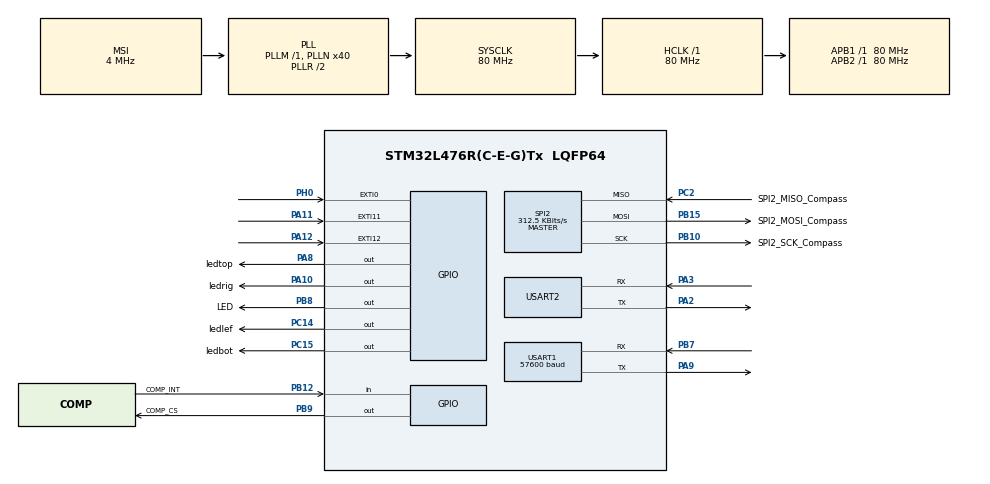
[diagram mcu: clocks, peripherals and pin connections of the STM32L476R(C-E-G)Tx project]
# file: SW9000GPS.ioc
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FREERTOS.Tasks01=defaultTask,0,128,StartDefaultTask,Default;rLEDTask,0,128,StartRLEDTask,Default;lLEDTask,0,128,StartLLEDTask,Default;tLEDTask,0,128,StartTLEDTask,Default;bLEDTask,0,128,StartBLEDTask,Default;thandlerTask,0,128,StartTHandlerTask,Default;compassTask,0,128,StartCompassTask,Default;gpsTask,0,128,StartGPSTask,Default
FREERTOS.configTOTAL_HEAP_SIZE=20000
Mcu.Family=STM32L4
Mcu.Name=STM32L476R(C-E-G)Tx
Mcu.Package=LQFP64
NVIC.EXTI0_IRQn=true\:5\:0\:false\:false\:true
NVIC.EXTI15_10_IRQn=true\:5\:0\:false\:false\:true
NVIC.PriorityGroup=NVIC_PRIORITYGROUP_4
NVIC.TIM1_UP_TIM16_IRQn=true\:0\:0\:false\:false\:true
NVIC.TimeBase=TIM1_UP_TIM16_IRQn
NVIC.TimeBaseIP=TIM1
PA10.GPIO_Label=ledrig
PA10.Signal=GPIO_Output
PA11.Signal=GPXTI11
PA12.Signal=GPXTI12
PA13.Mode=Serial-Wire
PA13.Signal=SYS_JTMS-SWDIO
PA14.Mode=Serial-Wire
PA14.Signal=SYS_JTCK-SWCLK
PA2.Mode=Asynchronous
PA2.Signal=USART2_TX
PA3.Mode=Asynchronous
PA3.Signal=USART2_RX
PA8.GPIO_Label=ledtop
PA8.Signal=GPIO_Output
PA9.Mode=Asynchronous
PA9.Signal=USART1_TX
PB10.GPIO_Label=SPI2_SCK_Compass
PB10.Mode=Full_Duplex_Master
PB10.Signal=SPI2_SCK
PB12.GPIO_Label=COMP_INT
PB12.Signal=GPIO_Input
PB15.GPIO_Label=SPI2_MOSI_Compass
PB15.Mode=Full_Duplex_Master
PB15.Signal=SPI2_MOSI
PB7.Mode=Asynchronous
PB7.Signal=USART1_RX
PB8.GPIO_Label=LED
PB8.Signal=GPIO_Output
PB9.GPIO_Label=COMP_CS
PB9.Signal=GPIO_Output
PC14/OSC32_IN.GPIO_Label=ledlef
PC14/OSC32_IN.Signal=GPIO_Output
PC15/OSC32_OUT.GPIO_Label=ledbot
PC15/OSC32_OUT.Signal=GPIO_Output
PC2.GPIO_Label=SPI2_MISO_Compass
PC2.Mode=Full_Duplex_Master
PC2.Signal=SPI2_MISO
PH0/OSC_IN.Signal=GPXTI0
ProjectManager.HeapSize=0x200
ProjectManager.StackSize=0x400
ProjectManager.TargetToolchain=EWARM
RCC.AHBFreq_Value=80000000
RCC.APB1Freq_Value=80000000
RCC.APB1TimFreq_Value=80000000
RCC.APB2Freq_Value=80000000
RCC.APB2TimFreq_Value=80000000
RCC.CortexFreq_Value=80000000
RCC.HCLKFreq_Value=80000000
RCC.HSE_VALUE=8000000
RCC.HSI_VALUE=16000000
RCC.LSE_VALUE=32768
RCC.MSI_VALUE=4000000
RCC.PLLN=40
RCC.SYSCLKFreq_VALUE=80000000
RCC.SYSCLKSource=RCC_SYSCLKSOURCE_PLLCLK
RCC.VCOOutputFreq_Value=160000000
SPI2.BaudRatePrescaler=SPI_BAUDRATEPRESCALER_256
SPI2.CLKPhase=SPI_PHASE_2EDGE
SPI2.CLKPolarity=SPI_POLARITY_HIGH
SPI2.CalculateBaudRate=312.5 KBits/s
SPI2.DataSize=SPI_DATASIZE_8BIT
SPI2.Mode=SPI_MODE_MASTER
USART1.BaudRate=57600
USART1.WordLength=UART_WORDLENGTH_8B
VP_FREERTOS_VS_ENABLE.Mode=Enabled
VP_SYS_VS_tim1.Mode=TIM1
board=SW9000GPS

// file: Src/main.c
/**
  ******************************************************************************
  * File Name          : main.c
  * Description        : Main program body
  ******************************************************************************
  *
  * COPYRIGHT(c) 2016 STMicroelectronics
  *
  * Redistribution and use in source and binary forms, with or without modification,
  * are permitted provided that the following conditions are met:
  *   1. Redistributions of source code must retain the above copyright notice,
  *      this list of conditions and the following disclaimer.
  *   2. Redistributions in binary form must reproduce the above copyright notice,
  *      this list of conditions and the following disclaimer in the documentation
  *      and/or other materials provided with the distribution.
  *   3. Neither the name of STMicroelectronics nor the names of its contributors
  *      may be used to endorse or promote products derived from this software
  *      without specific prior written permission.
  *
  * THIS SOFTWARE IS PROVIDED BY THE COPYRIGHT HOLDERS AND CONTRIBUTORS "AS IS"
  * AND ANY EXPRESS OR IMPLIED WARRANTIES, INCLUDING, BUT NOT LIMITED TO, THE
  * IMPLIED WARRANTIES OF MERCHANTABILITY AND FITNESS FOR A PARTICULAR PURPOSE ARE
  * DISCLAIMED. IN NO EVENT SHALL THE COPYRIGHT HOLDER OR CONTRIBUTORS BE LIABLE
  * FOR ANY DIRECT, INDIRECT, INCIDENTAL, SPECIAL, EXEMPLARY, OR CONSEQUENTIAL
  * DAMAGES (INCLUDING, BUT NOT LIMITED TO, PROCUREMENT OF SUBSTITUTE GOODS OR
  * SERVICES; LOSS OF USE, DATA, OR PROFITS; OR BUSINESS INTERRUPTION) HOWEVER
  * CAUSED AND ON ANY THEORY OF LIABILITY, WHETHER IN CONTRACT, STRICT LIABILITY,
  * OR TORT (INCLUDING NEGLIGENCE OR OTHERWISE) ARISING IN ANY WAY OUT OF THE USE
  * OF THIS SOFTWARE, EVEN IF ADVISED OF THE POSSIBILITY OF SUCH DAMAGE.
  *
  ******************************************************************************
  */
#include "stm32l4xx_hal.h"
#include "cmsis_os.h"

/* USER CODE BEGIN Includes */
#include <stdlib.h>
#include <string.h>
#include <math.h>
#include <stdint.h>
/* USER CODE END Includes */

SPI_HandleTypeDef hspi2;

UART_HandleTypeDef huart1;
UART_HandleTypeDef huart2;

osThreadId defaultTaskHandle;
osThreadId rLEDTaskHandle;
osThreadId lLEDTaskHandle;
osThreadId tLEDTaskHandle;
osThreadId bLEDTaskHandle;
osThreadId thandlerTaskHandle;
osThreadId compassTaskHandle;
osThreadId gpsTaskHandle;

/* USER CODE BEGIN PV */
/* Private variables ---------------------------------------------------------*/
volatile uint8_t blinking;
/* USER CODE END PV */

void SystemClock_Config(void);
static void MX_GPIO_Init(void);
static void MX_SPI2_Init(void);
static void MX_USART1_UART_Init(void);
static void MX_USART2_UART_Init(void);
void StartDefaultTask(void const * argument);
void StartRLEDTask(void const * argument);
void StartLLEDTask(void const * argument);
void StartTLEDTask(void const * argument);
void StartBLEDTask(void const * argument);
void StartTHandlerTask(void const * argument);
void StartCompassTask(void const * argument);
void StartGPSTask(void const * argument);

/* USER CODE BEGIN PFP */
/* Private function prototypes -----------------------------------------------*/
int calculateditance(double lat1, double lat2, double long1, double long2);
int calculateangle( double lat1, double lat2, double long1, double long2);
void Directions(double *Mylat, double *Mylong, char *in);
void GPSReceive(double *Mylat, double *Mylong, char *in);
void compass_takemeasurement(uint8_t * inbuf, uint8_t * outbuf);
/* USER CODE END PFP */

int main(void)
{

  /* MCU Configuration----------------------------------------------------------*/

  /* Reset of all peripherals, Initializes the Flash interface and the Systick. */
  HAL_Init();

  /* Configure the system clock */
  SystemClock_Config();

  /* Initialize all configured peripherals */
  MX_GPIO_Init();
  MX_SPI2_Init();
  MX_USART1_UART_Init();
  MX_USART2_UART_Init();

  /* USER CODE BEGIN 2 */
  blinking = 0;
  /* USER CODE END 2 */

  /* Create the thread(s) */
  /* definition and creation of defaultTask */
  osThreadDef(defaultTask, StartDefaultTask, osPriorityNormal, 0, 128);
  defaultTaskHandle = osThreadCreate(osThread(defaultTask), NULL);

  /* Start scheduler */
  osKernelStart();

  /* We should never get here as control is now taken by the scheduler */

  /* Infinite loop */
  while (1)
  {

  }

}

/** System Clock Configuration
*/
void SystemClock_Config(void)
{

  RCC_OscInitTypeDef RCC_OscInitStruct;
  RCC_ClkInitTypeDef RCC_ClkInitStruct;
  RCC_PeriphCLKInitTypeDef PeriphClkInit;

  RCC_OscInitStruct.OscillatorType = RCC_OSCILLATORTYPE_MSI;
  RCC_OscInitStruct.MSIState = RCC_MSI_ON;
  RCC_OscInitStruct.MSICalibrationValue = 0;
  RCC_OscInitStruct.MSIClockRange = RCC_MSIRANGE_6;
  RCC_OscInitStruct.PLL.PLLState = RCC_PLL_ON;
  RCC_OscInitStruct.PLL.PLLSource = RCC_PLLSOURCE_MSI;
  RCC_OscInitStruct.PLL.PLLM = 1;
  RCC_OscInitStruct.PLL.PLLN = 40;
  RCC_OscInitStruct.PLL.PLLP = RCC_PLLP_DIV7;
  RCC_OscInitStruct.PLL.PLLQ = RCC_PLLQ_DIV2;
  RCC_OscInitStruct.PLL.PLLR = RCC_PLLR_DIV2;
  HAL_RCC_OscConfig(&RCC_OscInitStruct);

  RCC_ClkInitStruct.ClockType = RCC_CLOCKTYPE_HCLK|RCC_CLOCKTYPE_SYSCLK
                              |RCC_CLOCKTYPE_PCLK1|RCC_CLOCKTYPE_PCLK2;
  RCC_ClkInitStruct.SYSCLKSource = RCC_SYSCLKSOURCE_PLLCLK;
  RCC_ClkInitStruct.AHBCLKDivider = RCC_SYSCLK_DIV1;
  RCC_ClkInitStruct.APB1CLKDivider = RCC_HCLK_DIV1;
  RCC_ClkInitStruct.APB2CLKDivider = RCC_HCLK_DIV1;
  HAL_RCC_ClockConfig(&RCC_ClkInitStruct, FLASH_LATENCY_4);

  PeriphClkInit.PeriphClockSelection = RCC_PERIPHCLK_USART1|RCC_PERIPHCLK_USART2;
  PeriphClkInit.Usart1ClockSelection = RCC_USART1CLKSOURCE_PCLK2;
  PeriphClkInit.Usart2ClockSelection = RCC_USART2CLKSOURCE_PCLK1;
  HAL_RCCEx_PeriphCLKConfig(&PeriphClkInit);

  __HAL_RCC_PWR_CLK_ENABLE();

  HAL_PWREx_ControlVoltageScaling(PWR_REGULATOR_VOLTAGE_SCALE1);

  HAL_SYSTICK_Config(HAL_RCC_GetHCLKFreq()/1000);

  HAL_SYSTICK_CLKSourceConfig(SYSTICK_CLKSOURCE_HCLK);

  /* SysTick_IRQn interrupt configuration */
  HAL_NVIC_SetPriority(SysTick_IRQn, 15, 0);
}

/* SPI2 init function */
void MX_SPI2_Init(void)
{

  hspi2.Instance = SPI2;
  hspi2.Init.Mode = SPI_MODE_MASTER;
  hspi2.Init.Direction = SPI_DIRECTION_2LINES;
  hspi2.Init.DataSize = SPI_DATASIZE_8BIT;
  hspi2.Init.CLKPolarity = SPI_POLARITY_HIGH;
  hspi2.Init.CLKPhase = SPI_PHASE_2EDGE;
  hspi2.Init.NSS = SPI_NSS_SOFT;
  hspi2.Init.BaudRatePrescaler = SPI_BAUDRATEPRESCALER_256;
  hspi2.Init.FirstBit = SPI_FIRSTBIT_MSB;
  hspi2.Init.TIMode = SPI_TIMODE_DISABLE;
  hspi2.Init.CRCCalculation = SPI_CRCCALCULATION_DISABLE;
  hspi2.Init.CRCPolynomial = 7;
  hspi2.Init.CRCLength = SPI_CRC_LENGTH_DATASIZE;
  hspi2.Init.NSSPMode = SPI_NSS_PULSE_DISABLE;
  HAL_SPI_Init(&hspi2);

}

/* USART1 init function */
void MX_USART1_UART_Init(void)
{

  huart1.Instance = USART1;
  huart1.Init.BaudRate = 57600;
  huart1.Init.WordLength = UART_WORDLENGTH_8B;
  huart1.Init.StopBits = UART_STOPBITS_1;
  huart1.Init.Parity = UART_PARITY_NONE;
  huart1.Init.Mode = UART_MODE_TX_RX;
  huart1.Init.HwFlowCtl = UART_HWCONTROL_NONE;
  huart1.Init.OverSampling = UART_OVERSAMPLING_16;
  huart1.Init.OneBitSampling = UART_ONE_BIT_SAMPLE_DISABLE;
  huart1.AdvancedInit.AdvFeatureInit = UART_ADVFEATURE_NO_INIT;
  HAL_UART_Init(&huart1);

}

/* USART2 init function */
void MX_USART2_UART_Init(void)
{

  huart2.Instance = USART2;
  huart2.Init.BaudRate = 115200;
  huart2.Init.WordLength = UART_WORDLENGTH_7B;
  huart2.Init.StopBits = UART_STOPBITS_1;
  huart2.Init.Parity = UART_PARITY_NONE;
  huart2.Init.Mode = UART_MODE_TX_RX;
  huart2.Init.HwFlowCtl = UART_HWCONTROL_NONE;
  huart2.Init.OverSampling = UART_OVERSAMPLING_16;
  huart2.Init.OneBitSampling = UART_ONE_BIT_SAMPLE_DISABLE;
  huart2.AdvancedInit.AdvFeatureInit = UART_ADVFEATURE_NO_INIT;
  HAL_UART_Init(&huart2);

}

/** Configure pins as
        * Analog
        * Input
        * Output
        * EVENT_OUT
        * EXTI
*/
void MX_GPIO_Init(void)
{

  GPIO_InitTypeDef GPIO_InitStruct;

  /* GPIO Ports Clock Enable */
  __HAL_RCC_GPIOC_CLK_ENABLE();
  __HAL_RCC_GPIOH_CLK_ENABLE();
  __HAL_RCC_GPIOA_CLK_ENABLE();
  __HAL_RCC_GPIOB_CLK_ENABLE();

  /*Configure GPIO pin Output Level */
  HAL_GPIO_WritePin(GPIOC, ledlef_Pin|ledbot_Pin, GPIO_PIN_RESET);

  /*Configure GPIO pin Output Level */
  HAL_GPIO_WritePin(GPIOA, ledtop_Pin|ledrig_Pin, GPIO_PIN_RESET);

  /*Configure GPIO pin Output Level */
  HAL_GPIO_WritePin(GPIOB, LED_Pin|COMP_CS_Pin, GPIO_PIN_RESET);

  /*Configure GPIO pins : ledlef_Pin ledbot_Pin */
  GPIO_InitStruct.Pin = ledlef_Pin|ledbot_Pin;
  GPIO_InitStruct.Mode = GPIO_MODE_OUTPUT_PP;
  GPIO_InitStruct.Pull = GPIO_NOPULL;
  GPIO_InitStruct.Speed = GPIO_SPEED_FREQ_LOW;
  HAL_GPIO_Init(GPIOC, &GPIO_InitStruct);

  /*Configure GPIO pin : PH0 */
  GPIO_InitStruct.Pin = GPIO_PIN_0;
  GPIO_InitStruct.Mode = GPIO_MODE_IT_RISING;
  GPIO_InitStruct.Pull = GPIO_NOPULL;
  HAL_GPIO_Init(GPIOH, &GPIO_InitStruct);

  /*Configure GPIO pin : COMP_INT_Pin */
  GPIO_InitStruct.Pin = COMP_INT_Pin;
  GPIO_InitStruct.Mode = GPIO_MODE_INPUT;
  GPIO_InitStruct.Pull = GPIO_NOPULL;
  HAL_GPIO_Init(COMP_INT_GPIO_Port, &GPIO_InitStruct);

  /*Configure GPIO pins : ledtop_Pin ledrig_Pin */
  GPIO_InitStruct.Pin = ledtop_Pin|ledrig_Pin;
  GPIO_InitStruct.Mode = GPIO_MODE_OUTPUT_PP;
  GPIO_InitStruct.Pull = GPIO_NOPULL;
  GPIO_InitStruct.Speed = GPIO_SPEED_FREQ_LOW;
  HAL_GPIO_Init(GPIOA, &GPIO_InitStruct);

  /*Configure GPIO pins : PA11 PA12 */
  GPIO_InitStruct.Pin = GPIO_PIN_11|GPIO_PIN_12;
  GPIO_InitStruct.Mode = GPIO_MODE_IT_RISING;
  GPIO_InitStruct.Pull = GPIO_NOPULL;
  HAL_GPIO_Init(GPIOA, &GPIO_InitStruct);

  /*Configure GPIO pins : LED_Pin COMP_CS_Pin */
  GPIO_InitStruct.Pin = LED_Pin|COMP_CS_Pin;
  GPIO_InitStruct.Mode = GPIO_MODE_OUTPUT_PP;
  GPIO_InitStruct.Pull = GPIO_NOPULL;
  GPIO_InitStruct.Speed = GPIO_SPEED_FREQ_LOW;
  HAL_GPIO_Init(GPIOB, &GPIO_InitStruct);

  /* EXTI interrupt init*/
  HAL_NVIC_SetPriority(EXTI0_IRQn, 5, 0);
  HAL_NVIC_EnableIRQ(EXTI0_IRQn);

  HAL_NVIC_SetPriority(EXTI15_10_IRQn, 5, 0);
  HAL_NVIC_EnableIRQ(EXTI15_10_IRQn);

}

/* USER CODE BEGIN 4 */
int calculateditance(double lat1, double lat2, double long1, double long2){
  double  pi = 3.1415926535;
  double distanceKm,a;
  double c;

  double R = 6371;
  double dlong;
  double dlat;

  lat1 = lat1*(pi/180);
  lat2 = lat2*(pi/180);

  long1= long1*(pi/180);
  long2= long2*(pi/180);
  dlong = (long2 - long1);
  dlat  = (lat2 - lat1);

  a = sin(dlat/2)*sin(dlat/2) + cos(lat1)*cos(lat2)*sin(dlong/2)*sin(dlong/2);
  c = 2 * atan2( sqrt(a), sqrt(1-a) );
  distanceKm = R * c;

  double DistanceMeters= distanceKm*1000;
  return DistanceMeters;

}

int calculateangle( double lat1, double lat2, double long1, double long2){

  double  pi = 3.1415926535;
  double angle = 0;
  double degree;
  double dlong;
  double dlat;

  lat1 = lat1*(pi/180);
  lat2 = lat2*(pi/180);

  long1= long1*(pi/180);
  long2= long2*(pi/180);

  dlong = (long2 - long1);
  dlat  = (lat2 - lat1);

  angle =  atan2(sin(dlong)*cos(lat2), cos(lat1)*sin(lat2)-sin(lat1)*cos(lat2)*cos(dlong));
  degree = round(angle*(180/pi));
  int degreerounded = degree;
  degreerounded = (degreerounded+360)%360;
  return degreerounded;

}
void Directions(double *Mylat, double *Mylong, char *in)
{
  char latitud[10];
  char longitud[10];

  strncpy(latitud,in+18,9);    //extracting latitud from current position;
  strncpy(longitud,in+30,10);  //extracting longitud

  *Mylong = atof(longitud)/100;
  *Mylat =  atof(latitud)/100;
  if(longitud[0]=='0')   // if longitud[0]==0,  this means the longitud is negative, thats why im multiplying by -1
  {
    *Mylong *= -1;
  }
}

void GPSReceive(double *Mylat, double *Mylong, char *in){
  volatile HAL_StatusTypeDef status;
  uint8_t inSize;
receivebeg:

  while(in[0] != '$')
  {
    status = HAL_UART_Receive(&huart1, &in[0], 1, 0x100);
    if(status == HAL_TIMEOUT)
    {
      osDelay(200);
    }
  }
  // Receive

  for (inSize = 1; inSize < 40 && status != HAL_TIMEOUT; inSize++)
  {
    status = HAL_UART_Receive(&huart1, &in[inSize], 1, 0x100);

    if (in[inSize] == '\n')
      break;
  }

  HAL_UART_Transmit(&huart2, (uint8_t *)in, inSize-1, 0x100);

  if(in[3]== 'G' && in[4]=='G' && in[5]=='A')
  {
    Directions(Mylat,Mylong, in);

  }

  else
  {
    osDelay(200);
    in[0] = 0;
    goto receivebeg;
  }
}

// Functions
// Useful debugging info
void compass_dbg_uartout(uint8_t * inBuf, uint8_t * outBuf, uint8_t * msg)
{
  if(outBuf[0] == 62)	// SSMM
  {
    msg = "SMM:\t";
    HAL_UART_Transmit(&huart2, (uint8_t*)msg, strlen(msg), 0xFFFF);
  }
  else if(outBuf[0] == 78)	// RM
  {
    msg = "RM:\t";
    HAL_UART_Transmit(&huart2, (uint8_t*)msg, strlen(msg), 0xFFFF);
  }
  else if(outBuf[0] == 240)	// RST
  {
    msg = "RST:\t";
    HAL_UART_Transmit(&huart2, (uint8_t*)msg, strlen(msg), 0xFFFF);
  }
  else if(outBuf[0] == 80)	// RR
  {
    msg = "RR:\t";
    HAL_UART_Transmit(&huart2, (uint8_t*)msg, strlen(msg), 0xFFFF);
  }
  if(inBuf[0] & 128)	msg = "BM\t";
  else				msg = "  \t";
  HAL_UART_Transmit(&huart2, (uint8_t*)msg, strlen(msg), 0xFFFF);
  if(inBuf[0] & 64)	msg = "WC\t";
  else				msg = "  \t";
  HAL_UART_Transmit(&huart2, (uint8_t*)msg, strlen(msg), 0xFFFF);
  if(inBuf[0] & 32)	msg = "SM\t";
  else				msg = "  \t";
  HAL_UART_Transmit(&huart2, (uint8_t*)msg, strlen(msg), 0xFFFF);
  if(inBuf[0] & 16)	msg = "ER\t";
  else				msg = "  \t";
  HAL_UART_Transmit(&huart2, (uint8_t*)msg, strlen(msg), 0xFFFF);
  if(inBuf[0] & 8)	msg = "SD\t";
  else				msg = "  \t";
  HAL_UART_Transmit(&huart2, (uint8_t*)msg, strlen(msg), 0xFFFF);
  if(inBuf[0] & 4)	msg = "RS\t";
  else				msg = "  \t";
  HAL_UART_Transmit(&huart2, (uint8_t*)msg, strlen(msg), 0xFFFF);
  if(inBuf[0] & 2)	msg = "D1\t";
  else				msg = "  \t";
  HAL_UART_Transmit(&huart2, (uint8_t*)msg, strlen(msg), 0xFFFF);
  if(inBuf[0] & 1)	msg = "D0\t";
  else				msg = "  \t";
  HAL_UART_Transmit(&huart2, (uint8_t*)msg, strlen(msg), 0xFFFF);
  if(HAL_GPIO_ReadPin(COMP_INT_GPIO_Port, COMP_INT_Pin))
  {
    msg = "RDY\t";
    HAL_UART_Transmit(&huart2, (uint8_t*)msg, strlen(msg), 0xFFFF);
  }
  msg = "\n\n\r";
  HAL_UART_Transmit(&huart2, (uint8_t*)msg, strlen(msg), 0xFFFF);
}

// I/O
void compass_send_SPI(uint8_t * inBuf, uint8_t inLength, uint8_t * outBuf, uint8_t outLength)
{
  HAL_GPIO_WritePin(COMP_CS_GPIO_Port, COMP_CS_Pin, GPIO_PIN_RESET);
  HAL_SPI_Transmit(&hspi2, outBuf, outLength, 1000);
  HAL_SPI_Receive(&hspi2, inBuf, inLength, 1000);
  HAL_GPIO_WritePin(COMP_CS_GPIO_Port, COMP_CS_Pin, GPIO_PIN_SET);
}

// Print results as integers
void compass_uart(int16_t * xyz, uint8_t * msg, int16_t * angle)
{
  sprintf(msg, "x: %5d\t", xyz[0]);
  if(HAL_UART_Transmit(&huart2, (uint8_t*)msg, strlen(msg), 0x1000) != HAL_OK)
    return;
  sprintf(msg, "y: %5d\t", xyz[1]);
  HAL_UART_Transmit(&huart2, (uint8_t*)msg, strlen(msg), 0xFFFF);
  sprintf(msg, "z: %5d\t", xyz[2]);
  HAL_UART_Transmit(&huart2, (uint8_t*)msg, strlen(msg), 0xFFFF);
  sprintf(msg, "a: %d\t", *angle);
  HAL_UART_Transmit(&huart2, (uint8_t*)msg, strlen(msg), 0xFFFF);
  msg = "\n\r";
  HAL_UART_Transmit(&huart2, (uint8_t*)msg, strlen(msg), 0xFFFF);
}

// Convert raw input bits to integers
void compass_processInput(uint8_t * inbuf, int16_t * xyz, int16_t * minmaxxyz)
{
  // FL is off by 2 degrees W: Don't care.
  for(uint8_t i=0; i<3; i++)
  {
    // 2's complement binaries to int16_t
    xyz[i] = ((int16_t)inbuf[i*2+1] << 8 | inbuf[i*2+2]);
    // (optional) use GAIN_SEL to find "real" value
    xyz[i] *= i==2?.294:.161;
    // Update minmaxxyz
    if(xyz[i] < minmaxxyz[2*i])	minmaxxyz[2*i] = xyz[i];
    if(xyz[i] > minmaxxyz[2*i+1])	minmaxxyz[2*i+1] = xyz[i];
    // Normalize results
    xyz[i] -= (minmaxxyz[2*i+1]+minmaxxyz[2*i])/2;
  }
}

/*
* Calibration: Do a bunch of measurements
*
* Measurements/normalization: Save min and max. Med = 0
*/

void compass_calibrate(uint8_t * inbuf, uint8_t * outbuf, int16_t * xyz, int16_t * minmaxxyz)
{
  compass_takemeasurement(inbuf, outbuf);
  for(uint8_t i=0; i<3; i++)
  {
    // 2's complement binaries to int16_t
    xyz[i] = ((int16_t)inbuf[i*2+1] << 8 | inbuf[i*2+2]);
    // (optional) use GAIN_SEL to find "real" value
    xyz[i] *= i==2?.294:.161;
    // Update minmaxxyz
    minmaxxyz[2*i] = xyz[i];
    minmaxxyz[2*1+1] = xyz[i];
  }
  for(uint16_t i=0; i<100; i++)	// TODO replace this with pushbutton
  {
    compass_takemeasurement(inbuf, outbuf);
    compass_processInput(inbuf, xyz, minmaxxyz);
    osDelay(100);
  }
}

void compass_takemeasurement(uint8_t * inbuf, uint8_t * outbuf)
{
  // Start single measurement mode
  outbuf[0] = 62;	// 0011zyxt
  compass_send_SPI(inbuf, 1, outbuf, 1);
  //compass_dbg_uartout(inbuf, outbuf, msg);

  while(!HAL_GPIO_ReadPin(COMP_INT_GPIO_Port, COMP_INT_Pin));

  //Read measurement
  outbuf[0] = 78;
  compass_send_SPI(inbuf, 7, outbuf, 1);
  //compass_dbg_uartout(inbuf, outbuf, msg);
}

void compass_getAngle(int16_t * angle, int16_t * xyz)
{
  volatile double tmp = atan((double)xyz[0]/(double)xyz[1]);
  tmp *= (180/3.1428);
  tmp = 90 - tmp;
  if(xyz[1] > 0)	*angle = (int16_t)(90.0 - (atan((double)xyz[0]/(double)xyz[1]) * (180.0 / 3.1428)));
  else if(xyz[1] < 0)	*angle = (int16_t)(270.0 - (atan((double)xyz[0]/(double)xyz[1]) * (180.0 / 3.1428)));
  else if(xyz[0]<0)	*angle = 180;
  else	*angle = 0;
}

void compass_vibrateAngle(int16_t * angle)
{
  uint8_t clockangle = *angle/30;
  uint16_t i;
  osDelay(500);
  for(;clockangle > 0; clockangle--)
  {
    for(i=35535; i>0; i--)
    {

    }
    osDelay(300);
  }
  osDelay(1000);
}

/*
TODO:
interupt 1:
save current location

interupt 2:
get direction to hard saved location

interupt 3:
get direction to soft saved location
*/

void angleToLED(uint16_t angle)
{
  if(angle<90 || angle >270)
    osThreadResume(tLEDTaskHandle);
  if(angle < 180)
    osThreadResume(rLEDTaskHandle);
  if(angle > 180)
    osThreadResume(lLEDTaskHandle);
  if(angle > 90 && angle < 270)
    osThreadResume(bLEDTaskHandle);
}

/* USER CODE END 4 */

/* StartDefaultTask function */
void StartDefaultTask(void const * argument)
{

  /* USER CODE BEGIN 5 */

  double softlat;
  double softlong;

  /*
  	Calibrate compass
  */
  /*
  HAL_GPIO_WritePin(GPIOB, GPIO_PIN_8, GPIO_PIN_SET);
  uint8_t inbuf[7];
  uint8_t outbuf[2];
  int16_t xyz[3];
  int16_t minmaxxyz[6];	// xmin xmax ymin ymax zmin zmax
  int16_t angle;
  uint8_t * msg = malloc(10);

  // Reset: 11110000 = 0xf0
  outbuf[0] = 0xf0;
  compass_send_SPI(inbuf, 1, outbuf, 1);
  compass_dbg_uartout(inbuf, outbuf, msg);

  compass_calibrate(inbuf, outbuf, xyz, minmaxxyz);

  HAL_GPIO_WritePin(GPIOB, GPIO_PIN_8, GPIO_PIN_RESET);

  */
  /*
  	Initialize GPS
  */

      struct route1{

    double firstpointlat;
    double firstpointlong;
    double secondpointlat;
    double secondpointlong;
    double thirdpointlat;
    double thirdpointlong;

  }points;

  points.firstpointlat =   28.600640;
  points.firstpointlong = -81.196905;
  //points.firstpointlat =   28.600969;
  //points.firstpointlong = -81.197758;

  points.secondpointlat =  28.600642;
  points.secondpointlong = -81.196900;

  points.thirdpointlat   = 28.601333;
  points.thirdpointlong  = -81.196601;

  char in[39];
//char latitud[10];
  //char longitud[10];

  double  currentlatitud=0;
  double currentlongitud=0;
  char *pop = "Just testing123!\n\r";

  in[0] = '0';
  uint8_t * nl = " - \r\n";
  uint8_t * nl2= "\r";
  uint8_t inSize;

  int totaldistance =0;
  int  test=0;

  // Config GPS (GGA, .5Hz)
  uint8_t *onlygga ="$PMTK314,0,0,0,1,0,0,0,0,0,0,0,0,0,0,0,0,0,0,0*29<CR><LF>";
  uint8_t *updatarate = "$PMTK220,2000*1C<CR><LF>";   //.5 times per second update  ---> .5Hz
  HAL_UART_Transmit(&huart1, (uint8_t *)onlygga, 13, 0x1000);
  HAL_UART_Transmit(&huart1, (uint8_t *)nl,1, 0x1000);

  //osThreadSuspend(defaultTaskHandle);
  for(;;)
  {
    /*
    if(!(blinking&224) || blinking|7)
    {
      osDelay(1000);
      continue;
    }
    */
    /*
    // get compass data
    compass_takemeasurement(inbuf, outbuf);
    compass_processInput(inbuf, xyz, minmaxxyz);
    compass_getAngle(&angle, xyz);
    */
    // get gps data
    //HAL_GPIO_WritePin(LED_GPIO_Port, LED_Pin, GPIO_PIN_SET);
    GPSReceive(&currentlatitud, &currentlongitud,in);
    HAL_GPIO_WritePin(LED_GPIO_Port, LED_Pin, GPIO_PIN_SET);
    osDelay(100);
    HAL_GPIO_WritePin(LED_GPIO_Port, LED_Pin, GPIO_PIN_RESET);
    osDelay(100);
    HAL_GPIO_WritePin(LED_GPIO_Port, LED_Pin, GPIO_PIN_SET);
    osDelay(100);
    HAL_GPIO_WritePin(LED_GPIO_Port, LED_Pin, GPIO_PIN_RESET);
    osDelay(100);
    HAL_GPIO_WritePin(LED_GPIO_Port, LED_Pin, GPIO_PIN_SET);
    osDelay(100);
    HAL_GPIO_WritePin(LED_GPIO_Port, LED_Pin, GPIO_PIN_RESET);
    osDelay(100);
    /*
    // button 1: calculate hard angle - real angle
    if(blinking == 128)	// but 1
    {
      osDelay(100);
      int destAngle = calculateangle(currentlatitud, 28.600640, currentlongitud, -81.196905);
	destAngle = (angle>destAngle)?360-angle+destAngle:destAngle-angle;
	angleToLED(destAngle);

      blinking &= 127;
    }
    // button 2: calculate soft angle - real angle
    else if(blinking == 64)	// but 2
    {
      osDelay(100);
        int destAngle = calculateangle(currentlatitud, softlat, currentlongitud, softlong);
	destAngle = (angle>destAngle)?360-angle+destAngle:destAngle-angle;
	angleToLED(destAngle);
      blinking &= 191;
    }
    // button 3: save soft location
    else if(blinking == 32)	// but 3
    {
      osDelay(100);
      softlat = currentlatitud;
      softlong = currentlongitud;
      blinking = 0;
    }
    //else	osDelay(1000);
    osThreadSuspend(defaultTaskHandle);
    */
  }

  /* USER CODE END 5 */
}

/* StartRLEDTask function */
void StartRLEDTask(void const * argument)
{
  /* USER CODE BEGIN StartRLEDTask */
  osThreadSuspend(rLEDTaskHandle);
  /* Infinite loop */
  for(;;)
  {
    blinking |= 1;
    for(uint8_t i = 0; i < 50; i++)
    {
      HAL_GPIO_WritePin(ledrig_GPIO_Port, ledrig_Pin, GPIO_PIN_RESET);
      osDelay(100);
      HAL_GPIO_WritePin(ledrig_GPIO_Port, ledrig_Pin, GPIO_PIN_SET);
      osDelay(100);
    }
    blinking &= 254;
    osThreadSuspend(rLEDTaskHandle);

  }
  /* USER CODE END StartRLEDTask */
}

/* StartLLEDTask function */
void StartLLEDTask(void const * argument)
{
  /* USER CODE BEGIN StartLLEDTask */
  osThreadSuspend(lLEDTaskHandle);
  /* Infinite loop */
  for(;;)
  {
    blinking |= 2;
    for(uint8_t i = 0; i < 50; i++)
    {
      HAL_GPIO_WritePin(ledlef_GPIO_Port, ledlef_Pin, GPIO_PIN_RESET);
      osDelay(100);
      HAL_GPIO_WritePin(ledlef_GPIO_Port, ledlef_Pin, GPIO_PIN_SET);
      osDelay(100);
    }
    blinking &= 253;
    osThreadSuspend(lLEDTaskHandle);

  }
  /* USER CODE END StartLLEDTask */
}

/* StartTLEDTask function */
void StartTLEDTask(void const * argument)
{
  /* USER CODE BEGIN StartTLEDTask */
  osThreadSuspend(tLEDTaskHandle);
  /* Infinite loop */
  for(;;)
  {
    blinking |= 4;
    for(uint8_t i = 0; i < 50; i++)
    {
      HAL_GPIO_WritePin(ledtop_GPIO_Port, ledtop_Pin, GPIO_PIN_RESET);
      osDelay(100);
      HAL_GPIO_WritePin(ledtop_GPIO_Port, ledtop_Pin, GPIO_PIN_SET);
      osDelay(100);
    }
    blinking &= 251;
    osThreadSuspend(tLEDTaskHandle);

  }
  /* USER CODE END StartTLEDTask */
}

/* StartBLEDTask function */
void StartBLEDTask(void const * argument)
{
  /* USER CODE BEGIN StartBLEDTask */
  osThreadSuspend(bLEDTaskHandle);
  /* Infinite loop */
  for(;;)
  {
    blinking |= 8;
    for(uint8_t i = 0; i < 50; i++)
    {
      HAL_GPIO_WritePin(ledbot_GPIO_Port, ledbot_Pin, GPIO_PIN_RESET);
      osDelay(100);
      HAL_GPIO_WritePin(ledbot_GPIO_Port, ledbot_Pin, GPIO_PIN_SET);
      osDelay(100);
    }
    blinking &= 247;
    osThreadSuspend(bLEDTaskHandle);

  }
  /* USER CODE END StartBLEDTask */
}

/* StartTHandlerTask function */
void StartTHandlerTask(void const * argument)
{
  /* USER CODE BEGIN StartTHandlerTask */
  osThreadSuspend(thandlerTaskHandle);
  /* Infinite loop */
  for(;;)
  {
    //if(!blinking) osThreadResume(defaultTaskHandle);
    osDelay(30000);
  }
  /* USER CODE END StartTHandlerTask */
}

/* StartCompassTask function */
void StartCompassTask(void const * argument)
{
  /* USER CODE BEGIN StartCompassTask */

  HAL_GPIO_WritePin(GPIOB, GPIO_PIN_8, GPIO_PIN_SET);
  uint8_t inbuf[7];
  uint8_t outbuf[2];
  int16_t xyz[3];
  int16_t minmaxxyz[6];	// xmin xmax ymin ymax zmin zmax
  int16_t angle;
  uint8_t * msg = malloc(10);

  // Reset: 11110000 = 0xf0
  outbuf[0] = 0xf0;
  compass_send_SPI(inbuf, 1, outbuf, 1);
  compass_dbg_uartout(inbuf, outbuf, msg);

  compass_calibrate(inbuf, outbuf, xyz, minmaxxyz);

  /*
  // Read register 0
  outbuf[0] = 80;
  outbuf[1] = 0 << 2;
  compass_send_SPI(inbuf, 3, outbuf, 2);
  compass_dbg_uartout(inbuf, outbuf, msg);
  */

  HAL_GPIO_WritePin(GPIOB, GPIO_PIN_8, GPIO_PIN_RESET);
  osThreadResume(defaultTaskHandle);
  osThreadSuspend(compassTaskHandle);

  /* Infinite loop */
  for(;;)
  {
    compass_takemeasurement(inbuf, outbuf);
    compass_processInput(inbuf, xyz, minmaxxyz);
    compass_getAngle(&angle, xyz);
    //compass_vibrateAngle(&angle);
    HAL_GPIO_WritePin(GPIOB, GPIO_PIN_8, GPIO_PIN_RESET);
    //osThreadResume(defaultTaskHandle);
    //osThreadResume(laserTaskHandle);
    osThreadSuspend(compassTaskHandle);
  }
  /* USER CODE END StartCompassTask */
}

/* StartGPSTask function */
void StartGPSTask(void const * argument)
{
  for(;;)
  {
    osDelay(1);
  }
}

/************************ (C) COPYRIGHT STMicroelectronics *****END OF FILE****/
